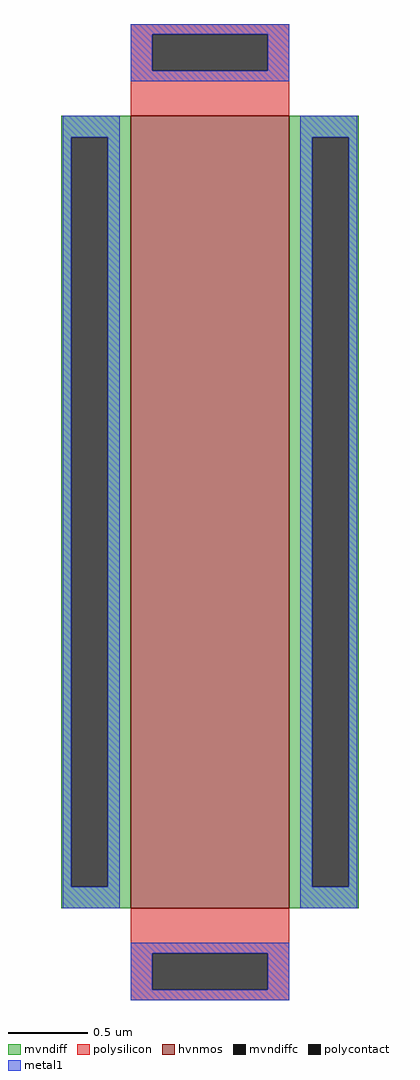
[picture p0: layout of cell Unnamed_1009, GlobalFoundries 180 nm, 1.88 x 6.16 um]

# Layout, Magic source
magic
tech gf180mcuD
magscale 1 10
<< hvnmos >>
rect 14 0 214 1000
<< mvndiff >>
rect -74 973 14 1000
rect -74 27 -61 973
rect -15 27 14 973
rect -74 0 14 27
rect 214 973 302 1000
rect 214 27 243 973
rect 289 27 302 973
rect 214 0 302 27
<< mvndiffc >>
rect -61 27 -15 973
rect 243 27 289 973
<< polysilicon >>
rect 14 1103 214 1116
rect 14 1057 41 1103
rect 187 1057 214 1103
rect 14 1000 214 1057
rect 14 -57 214 0
rect 14 -103 41 -57
rect 187 -103 214 -57
rect 14 -116 214 -103
<< polycontact >>
rect 41 1057 187 1103
rect 41 -103 187 -57
<< metal1 >>
rect 14 1103 214 1116
rect 14 1057 41 1103
rect 187 1057 214 1103
rect 14 1044 214 1057
rect -72 973 0 1000
rect -72 27 -61 973
rect -15 27 0 973
rect -72 0 0 27
rect 228 973 300 1000
rect 228 27 243 973
rect 289 27 300 973
rect 228 0 300 27
rect 14 -57 214 -44
rect 14 -103 41 -57
rect 187 -103 214 -57
rect 14 -116 214 -103
<< end >>
